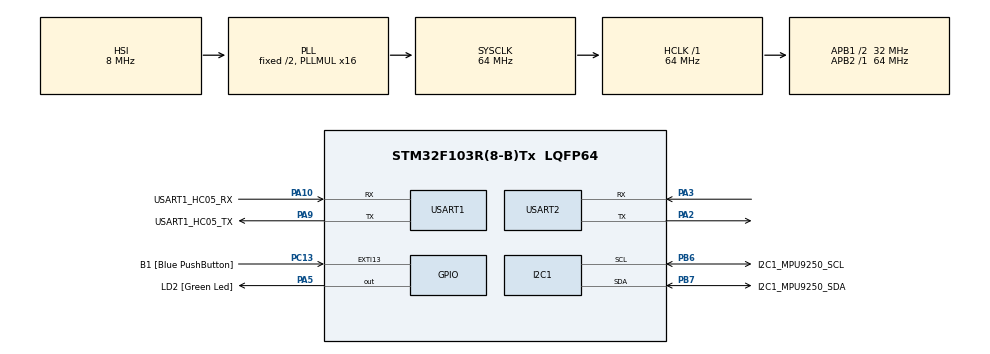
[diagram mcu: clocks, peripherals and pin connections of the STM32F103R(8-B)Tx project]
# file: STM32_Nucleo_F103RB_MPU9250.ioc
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Dma.I2C1_RX.0.Direction=DMA_PERIPH_TO_MEMORY
Dma.I2C1_RX.0.Instance=DMA1_Channel7
Dma.I2C1_RX.0.MemDataAlignment=DMA_MDATAALIGN_BYTE
Dma.I2C1_RX.0.MemInc=DMA_MINC_ENABLE
Dma.I2C1_RX.0.Mode=DMA_NORMAL
Dma.I2C1_RX.0.PeriphDataAlignment=DMA_PDATAALIGN_BYTE
Dma.I2C1_RX.0.PeriphInc=DMA_PINC_DISABLE
Dma.I2C1_RX.0.Priority=DMA_PRIORITY_LOW
Dma.I2C1_TX.1.Direction=DMA_MEMORY_TO_PERIPH
Dma.I2C1_TX.1.Instance=DMA1_Channel6
Dma.I2C1_TX.1.MemDataAlignment=DMA_MDATAALIGN_BYTE
Dma.I2C1_TX.1.MemInc=DMA_MINC_ENABLE
Dma.I2C1_TX.1.Mode=DMA_NORMAL
Dma.I2C1_TX.1.PeriphDataAlignment=DMA_PDATAALIGN_BYTE
Dma.I2C1_TX.1.PeriphInc=DMA_PINC_DISABLE
Dma.I2C1_TX.1.Priority=DMA_PRIORITY_LOW
Dma.Request0=I2C1_RX
Dma.Request1=I2C1_TX
Dma.Request2=USART1_RX
Dma.Request3=USART1_TX
Dma.USART1_RX.2.Direction=DMA_PERIPH_TO_MEMORY
Dma.USART1_RX.2.Instance=DMA1_Channel5
Dma.USART1_RX.2.MemDataAlignment=DMA_MDATAALIGN_BYTE
Dma.USART1_RX.2.MemInc=DMA_MINC_ENABLE
Dma.USART1_RX.2.Mode=DMA_NORMAL
Dma.USART1_RX.2.PeriphDataAlignment=DMA_PDATAALIGN_BYTE
Dma.USART1_RX.2.PeriphInc=DMA_PINC_DISABLE
Dma.USART1_RX.2.Priority=DMA_PRIORITY_LOW
Dma.USART1_TX.3.Direction=DMA_MEMORY_TO_PERIPH
Dma.USART1_TX.3.Instance=DMA1_Channel4
Dma.USART1_TX.3.MemDataAlignment=DMA_MDATAALIGN_BYTE
Dma.USART1_TX.3.MemInc=DMA_MINC_ENABLE
Dma.USART1_TX.3.Mode=DMA_NORMAL
Dma.USART1_TX.3.PeriphDataAlignment=DMA_PDATAALIGN_BYTE
Dma.USART1_TX.3.PeriphInc=DMA_PINC_DISABLE
Dma.USART1_TX.3.Priority=DMA_PRIORITY_LOW
FREERTOS.Tasks01=USART_Task,0,512,Start_USART_Task,Default,NULL,Dynamic,NULL,NULL;IMU_Task,3,512,Start_IMU_Task,Default,NULL,Dynamic,NULL,NULL
FREERTOS.configTOTAL_HEAP_SIZE=12000
Mcu.Family=STM32F1
Mcu.Name=STM32F103R(8-B)Tx
Mcu.Package=LQFP64
NVIC.DMA1_Channel4_IRQn=true\:5\:0\:false\:false\:true\:true\:false\:true
NVIC.DMA1_Channel5_IRQn=true\:5\:0\:false\:false\:true\:true\:false\:true
NVIC.DMA1_Channel6_IRQn=true\:5\:0\:false\:false\:true\:true\:false\:true
NVIC.DMA1_Channel7_IRQn=true\:5\:0\:false\:false\:true\:true\:false\:true
NVIC.EXTI15_10_IRQn=true\:5\:0\:false\:false\:true\:true\:true\:true
NVIC.PriorityGroup=NVIC_PRIORITYGROUP_4
NVIC.USART1_IRQn=true\:5\:0\:false\:false\:true\:true\:true\:true
PA10.GPIO_Label=USART1_HC05_RX
PA10.Mode=Asynchronous
PA10.Signal=USART1_RX
PA13.GPIO_Label=TMS
PA13.Mode=Serial_Wire
PA13.Signal=SYS_JTMS-SWDIO
PA14.GPIO_Label=TCK
PA14.Mode=Serial_Wire
PA14.Signal=SYS_JTCK-SWCLK
PA2.Mode=Asynchronous
PA2.Signal=USART2_TX
PA3.Mode=Asynchronous
PA3.Signal=USART2_RX
PA5.GPIO_Label=LD2 [Green Led]
PA5.GPIO_ModeDefaultOutputPP=GPIO_MODE_OUTPUT_PP
PA5.GPIO_PuPd=GPIO_NOPULL
PA5.GPIO_Speed=GPIO_SPEED_FREQ_LOW
PA5.Signal=GPIO_Output
PA9.GPIO_Label=USART1_HC05_TX
PA9.Mode=Asynchronous
PA9.Signal=USART1_TX
PB3.GPIO_Label=SWO
PB3.Signal=SYS_JTDO-TRACESWO
PB6.GPIO_Label=I2C1_MPU9250_SCL
PB6.Mode=I2C
PB6.Signal=I2C1_SCL
PB7.GPIO_Label=I2C1_MPU9250_SDA
PB7.Mode=I2C
PB7.Signal=I2C1_SDA
PC13-TAMPER-RTC.GPIO_Label=B1 [Blue PushButton]
PC13-TAMPER-RTC.GPIO_PuPd=GPIO_NOPULL
PC13-TAMPER-RTC.Signal=GPXTI13
PC14-OSC32_IN.Mode=LSE-External-Oscillator
PC14-OSC32_IN.Signal=RCC_OSC32_IN
PC15-OSC32_OUT.Mode=LSE-External-Oscillator
PC15-OSC32_OUT.Signal=RCC_OSC32_OUT
PD0-OSC_IN.Mode=HSE-External-Clock-Source
PD0-OSC_IN.Signal=RCC_OSC_IN
PD1-OSC_OUT.Mode=HSE-External-Clock-Source
PD1-OSC_OUT.Signal=RCC_OSC_OUT
ProjectManager.HeapSize=0x200
ProjectManager.StackSize=0x400
ProjectManager.TargetToolchain=STM32CubeIDE
RCC.AHBFreq_Value=64000000
RCC.APB1CLKDivider=RCC_HCLK_DIV2
RCC.APB1Freq_Value=32000000
RCC.APB1TimFreq_Value=64000000
RCC.APB2Freq_Value=64000000
RCC.APB2TimFreq_Value=64000000
RCC.HCLKFreq_Value=64000000
RCC.PLLMUL=RCC_PLL_MUL16
RCC.RTCClockSelection=RCC_RTCCLKSOURCE_LSE
RCC.SYSCLKFreq_VALUE=64000000
RCC.SYSCLKSource=RCC_SYSCLKSOURCE_PLLCLK
RCC.USBFreq_Value=64000000
USART1.VirtualMode=VM_ASYNC
USART2.VirtualMode=VM_ASYNC
VP_FREERTOS_VS_CMSIS_V1.Mode=CMSIS_V1
board=NUCLEO-F103RB

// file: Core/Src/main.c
/* USER CODE BEGIN Header */
/**
  ******************************************************************************
  * @file           : main.c
  * @brief          : Main program body
  ******************************************************************************
  * @attention
  *
  * <h2><center>&copy; Copyright (c) 2019 STMicroelectronics.
  * All rights reserved.</center></h2>
  *
  * This software component is licensed by ST under BSD 3-Clause license,
  * the "License"; You may not use this file except in compliance with the
  * License. You may obtain a copy of the License at:
  *                        opensource.org/licenses/BSD-3-Clause
  *
  ******************************************************************************
  */
/* USER CODE END Header */

#include "main.h"
#include "cmsis_os.h"
#include "dma.h"
#include "i2c.h"
#include "usart.h"
#include "gpio.h"

void SystemClock_Config(void);
void MX_FREERTOS_Init(void);

int main(void)
{

  /* MCU Configuration--------------------------------------------------------*/

  /* Reset of all peripherals, Initializes the Flash interface and the Systick. */
  HAL_Init();

  /* Configure the system clock */
  SystemClock_Config();

  /* Initialize all configured peripherals */
  MX_GPIO_Init();
  MX_DMA_Init();
  MX_I2C1_Init();
  MX_USART1_UART_Init();
  MX_USART2_UART_Init();

  /* Call init function for freertos objects (in freertos.c) */
  MX_FREERTOS_Init();

  /* Start scheduler */
  osKernelStart();

  /* We should never get here as control is now taken by the scheduler */

  /* Infinite loop */
  while (1)
  {

  }
}

void SystemClock_Config(void)
{
  RCC_OscInitTypeDef RCC_OscInitStruct = {0};
  RCC_ClkInitTypeDef RCC_ClkInitStruct = {0};

  /** Initializes the CPU, AHB and APB busses clocks
  */
  RCC_OscInitStruct.OscillatorType = RCC_OSCILLATORTYPE_HSI;
  RCC_OscInitStruct.HSIState = RCC_HSI_ON;
  RCC_OscInitStruct.HSICalibrationValue = RCC_HSICALIBRATION_DEFAULT;
  RCC_OscInitStruct.PLL.PLLState = RCC_PLL_ON;
  RCC_OscInitStruct.PLL.PLLSource = RCC_PLLSOURCE_HSI_DIV2;
  RCC_OscInitStruct.PLL.PLLMUL = RCC_PLL_MUL16;
  if (HAL_RCC_OscConfig(&RCC_OscInitStruct) != HAL_OK)
  {
    Error_Handler();
  }
  /** Initializes the CPU, AHB and APB busses clocks
  */
  RCC_ClkInitStruct.ClockType = RCC_CLOCKTYPE_HCLK|RCC_CLOCKTYPE_SYSCLK
                              |RCC_CLOCKTYPE_PCLK1|RCC_CLOCKTYPE_PCLK2;
  RCC_ClkInitStruct.SYSCLKSource = RCC_SYSCLKSOURCE_PLLCLK;
  RCC_ClkInitStruct.AHBCLKDivider = RCC_SYSCLK_DIV1;
  RCC_ClkInitStruct.APB1CLKDivider = RCC_HCLK_DIV2;
  RCC_ClkInitStruct.APB2CLKDivider = RCC_HCLK_DIV1;

  if (HAL_RCC_ClockConfig(&RCC_ClkInitStruct, FLASH_LATENCY_2) != HAL_OK)
  {
    Error_Handler();
  }
}

void Error_Handler(void)
{
}

/************************ (C) COPYRIGHT STMicroelectronics *****END OF FILE****/

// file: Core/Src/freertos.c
/* USER CODE BEGIN Header */
/**
  ******************************************************************************
  * File Name          : freertos.c
  * Description        : Code for freertos applications
  ******************************************************************************
  * @attention
  *
  * <h2><center>&copy; Copyright (c) 2019 STMicroelectronics.
  * All rights reserved.</center></h2>
  *
  * This software component is licensed by ST under Ultimate Liberty license
  * SLA0044, the "License"; You may not use this file except in compliance with
  * the License. You may obtain a copy of the License at:
  *                             www.st.com/SLA0044
  *
  ******************************************************************************
  */
/* USER CODE END Header */

#include "FreeRTOS.h"
#include "task.h"
#include "main.h"
#include "cmsis_os.h"

/* USER CODE BEGIN Includes */
#include "mpu9250.h"
#include "hc05.h"

#include "stdio.h"

//#include "stdio.h"

/* USER CODE END Includes */

/* USER CODE BEGIN Variables */

/* ------------> MPU9250 variables <------------- */
float a_x_offset_global = 0, a_y_offset_global = 0, a_z_offset_global = 0;
float g_x_offset_global = 0, g_y_offset_global = 0, g_z_offset_global = 0;
float m_x_offset_global = 0, m_y_offset_global = 0, m_z_offset_global = 0;
float m_x_scale_global = 0, m_y_scale_global = 0, m_z_scale_global = 0;

float a_g_x = 0, a_g_y = 0, a_g_z = 0;
float a_g_offset_x = 0, a_g_offset_y = 0, a_g_offset_z = 0;
float a_wihout_g_x = 0, a_wihout_g_y = 0, a_wihout_g_z = 0;
float a_velocity_x = 0, a_velocity_y = 0, a_velocity_z = 0;
float a_position_x = 0, a_position_y = 0, a_position_z = 0;

float Madgwick_q_w = 1, Madgwick_q_x = 0, Madgwick_q_y = 0, Madgwick_q_z = 0;

float dt = 0;

/* -----------> Communication variables <----------- */
UART_HandleTypeDef *HC05_handle = &huart1;

struct Data_frame_from_PC	DF_PC;
struct Data_frame_to_PC		DT_PC;

uint8_t Data_to_PC[DATA_FRAME_TO_PC_SIZE];
uint8_t Data_from_PC[DATA_FRAME_FROM_PC_SIZE];

/* -----------> Additional variables    <----------- */
uint8_t Which_filter_global = 0;

/* USER CODE END Variables */
osThreadId USART_TaskHandle;
osThreadId IMU_TaskHandle;

void Start_USART_Task(void const * argument);
void Start_IMU_Task(void const * argument);

void MX_FREERTOS_Init(void); /* (MISRA C 2004 rule 8.1) */

/* GetIdleTaskMemory prototype (linked to static allocation support) */
void vApplicationGetIdleTaskMemory( StaticTask_t **ppxIdleTaskTCBBuffer, StackType_t **ppxIdleTaskStackBuffer, uint32_t *pulIdleTaskStackSize );

/* USER CODE BEGIN GET_IDLE_TASK_MEMORY */
static StaticTask_t xIdleTaskTCBBuffer;
static StackType_t xIdleStack[configMINIMAL_STACK_SIZE];

void vApplicationGetIdleTaskMemory( StaticTask_t **ppxIdleTaskTCBBuffer, StackType_t **ppxIdleTaskStackBuffer, uint32_t *pulIdleTaskStackSize )
{
  *ppxIdleTaskTCBBuffer = &xIdleTaskTCBBuffer;
  *ppxIdleTaskStackBuffer = &xIdleStack[0];
  *pulIdleTaskStackSize = configMINIMAL_STACK_SIZE;
  /* place for user code */
}
/* USER CODE END GET_IDLE_TASK_MEMORY */

void MX_FREERTOS_Init(void) {

  /* Create the thread(s) */
  /* definition and creation of USART_Task */
  osThreadDef(USART_Task, Start_USART_Task, osPriorityNormal, 0, 512);
  USART_TaskHandle = osThreadCreate(osThread(USART_Task), NULL);

  /* definition and creation of IMU_Task */
  osThreadDef(IMU_Task, Start_IMU_Task, osPriorityRealtime, 0, 512);
  IMU_TaskHandle = osThreadCreate(osThread(IMU_Task), NULL);

}

void Start_USART_Task(void const * argument)
{
  /* USER CODE BEGIN Start_USART_Task */

	/* Start receiving */
	HAL_UART_Receive_DMA(HC05_handle, Data_from_PC, DATA_FRAME_FROM_PC_SIZE);

	/* Infinite loop */
	for (;;) {

		HC05_Fill_Data_frame_to_PC(&DT_PC, Data_to_PC,
									a_position_x, a_position_y, a_position_z, 0,
									0, 0, 0, 0,
									/*a_position_x, a_position_y, a_position_z, 0*/
									Madgwick_q_w, Madgwick_q_x, Madgwick_q_y, Madgwick_q_z);

		HAL_UART_Transmit_DMA(HC05_handle, Data_to_PC, DATA_FRAME_TO_PC_SIZE);

		uint16_t cnt[10];
		uint8_t  data[50];
		uint16_t size = 0;

		cnt[0] = (uint16_t)(a_wihout_g_x * 1000);
		cnt[1] = (uint16_t)(a_wihout_g_y * 1000);
		cnt[2] = (uint16_t)(a_wihout_g_z * 1000);

		cnt[3] = (uint16_t)(a_velocity_x * 1000);
		cnt[4] = (uint16_t)(a_velocity_y * 1000);
		cnt[5] = (uint16_t)(a_velocity_z * 1000);

		cnt[6] = (uint16_t)(a_position_x * 1000);
		cnt[7] = (uint16_t)(a_position_y * 1000);
		cnt[8] = (uint16_t)(a_position_z * 1000);

		size = sprintf(data, "a_wihout_g_x: %d \n\r", cnt[0]);
		HAL_UART_Transmit(&huart2, data, size, 10);
		size = sprintf(data, "a_wihout_g_y: %d \n\r", cnt[1]);
		HAL_UART_Transmit(&huart2, data, size, 10);
		size = sprintf(data, "a_wihout_g_z: %d \n\r", cnt[2]);
		HAL_UART_Transmit(&huart2, data, size, 10);

		size = sprintf(data, "a_velocity_x: %d \n\r", cnt[3]);
		HAL_UART_Transmit(&huart2, data, size, 10);
		size = sprintf(data, "a_velocity_y: %d \n\r", cnt[4]);
		HAL_UART_Transmit(&huart2, data, size, 10);
		size = sprintf(data, "a_velocity_z: %d \n\r", cnt[5]);
		HAL_UART_Transmit(&huart2, data, size, 10);

		size = sprintf(data, "a_position_x: %d \n\r", cnt[6]);
		HAL_UART_Transmit(&huart2, data, size, 10);
		size = sprintf(data, "a_position_y: %d \n\r", cnt[7]);
		HAL_UART_Transmit(&huart2, data, size, 10);
		size = sprintf(data, "a_position_z: %d \n\r", cnt[8]);
		HAL_UART_Transmit(&huart2, data, size, 10);

		size = sprintf(data, "\n\r", cnt[9]);
		HAL_UART_Transmit(&huart2, data, size, 10);

		osDelay(10);
	}

  /* USER CODE END Start_USART_Task */
}

void Start_IMU_Task(void const * argument)
{
  /* USER CODE BEGIN Start_IMU_Task */

	/* IMU task variables */
	uint8_t mpu9250_correct_init_global = 0;

	struct MPU9250 mpu1;

	uint32_t I_Time_Stop = 0;
	uint32_t I_Time_Start = 0;

	/* IMU task initialization */
	HAL_GPIO_TogglePin(LD2_GPIO_Port, LD2_Pin);
	osDelay(100);

	if (MPU9250_Init(&hi2c1, &mpu1, MPU9250_Device_1, MPU9250_Acce_2G, MPU9250_Gyro_2000s) == MPU9250_Init_OK) {

		MPU9250_Set_Offsets(&hi2c1, &mpu1, 0,0,0, 0,0,0, -26.536,0.992,0.968, 1.04,1,1);

		MPU9250_Calibration_Acce(&hi2c1, &mpu1);
		MPU9250_Calibration_Gyro(&hi2c1, &mpu1);
		//MPU9250_Calibration_Mag(&hi2c1, &mpu1);

		a_x_offset_global = mpu1.Accelerometer_X_offset, a_y_offset_global = mpu1.Accelerometer_Y_offset, a_z_offset_global = mpu1.Accelerometer_Z_offset;
		g_x_offset_global = mpu1.Gyroscope_X_offset, g_y_offset_global = mpu1.Gyroscope_Y_offset, g_z_offset_global = mpu1.Gyroscope_Z_offset;
		m_x_offset_global = mpu1.Magnetometer_X_offset, m_y_offset_global = mpu1.Magnetometer_Y_offset, m_z_offset_global = mpu1.Magnetometer_Z_offset;
		m_x_scale_global = mpu1.Magnetometer_X_scale, m_y_offset_global = mpu1.Magnetometer_Y_scale, m_z_offset_global = mpu1.Magnetometer_Z_scale;

		for (int i = 0; i < 3; ++i) {

			HAL_GPIO_WritePin(LD2_GPIO_Port, LD2_Pin, GPIO_PIN_SET);
			osDelay(200);
			HAL_GPIO_WritePin(LD2_GPIO_Port, LD2_Pin, GPIO_PIN_RESET);
			osDelay(200);
		}

		mpu9250_correct_init_global = 1;
	} else {

		mpu9250_correct_init_global = 0;
	}

	osDelay(100);
	HAL_GPIO_TogglePin(LD2_GPIO_Port, LD2_Pin);

	/* Infinite loop */
	for (;;) {

		if (mpu9250_correct_init_global == 1) {

			/* Case 1: Time measurement */
			I_Time_Start = I_Time_Stop;
			I_Time_Stop = HAL_GetTick();

			dt = (float) (I_Time_Stop - I_Time_Start) / 1000;

			/* Case 2: Update AHRS */
			MPU9250_Update(&hi2c1, &mpu1, dt);

			a_g_x = mpu1.Accelerometer_vector_g.x,
			a_g_y = mpu1.Accelerometer_vector_g.y,
			a_g_z = mpu1.Accelerometer_vector_g.z;

			a_g_offset_x = mpu1.Accelerometer_vector_g_offset.x,
			a_g_offset_y = mpu1.Accelerometer_vector_g_offset.y,
			a_g_offset_z = mpu1.Accelerometer_vector_g_offset.z;

			a_wihout_g_x = mpu1.Accelerometer_vector_without_g.x,
			a_wihout_g_y = mpu1.Accelerometer_vector_without_g.y,
			a_wihout_g_z = mpu1.Accelerometer_vector_without_g.z;

			a_velocity_x = mpu1.Accelerometer_vector_velocity.x,
			a_velocity_y = mpu1.Accelerometer_vector_velocity.y,
			a_velocity_z = mpu1.Accelerometer_vector_velocity.z;

			a_position_x = mpu1.Accelerometer_vector_position.x,
			a_position_y = mpu1.Accelerometer_vector_position.y,
			a_position_z = mpu1.Accelerometer_vector_position.z;

			/* Filters data */
			Madgwick_q_w = mpu1.Madgwick_quaternion.w;
			Madgwick_q_x = mpu1.Madgwick_quaternion.x;
			Madgwick_q_y = mpu1.Madgwick_quaternion.y;
			Madgwick_q_z = mpu1.Madgwick_quaternion.z;
		}

		osDelay(10);
	}
  /* USER CODE END Start_IMU_Task */
}

/* USER CODE BEGIN Application */

/*
int _write(int file , char *ptr , int len) {

	HAL_UART_Transmit(&huart2 ,(uint8_t *)ptr ,len ,1000) ;
	return len;
}
*/

void HAL_UART_RxCpltCallback(UART_HandleTypeDef *huart) {

	if (huart->Instance == USART1) {

		HAL_UART_Receive_DMA(HC05_handle, Data_from_PC, DATA_FRAME_FROM_PC_SIZE);

		if( HC05_Parse_Data_frame(&DF_PC, Data_from_PC) == 0 ) {

			HAL_GPIO_TogglePin(LD2_GPIO_Port, LD2_Pin);

			/* Filters data from PC */
			//Filter_weight_global           = (float) DF_PC.Complementary_filter_weight / 1000;

			//Kalman_filter_process_variance = DF_PC.Kalman_filter_process_variance;
			//Kalman_filter_measure_variance = DF_PC.Kalman_filter_measure_variance;

			//Madgwick_filter_beta           = (float) DF_PC.Madgwick_filter_beta / 1000;

			/* Additional data from PC */
			Which_filter_global = DF_PC.Which_filter;
		}
	}
}

/* USER CODE END Application */

/************************ (C) COPYRIGHT STMicroelectronics *****END OF FILE****/
